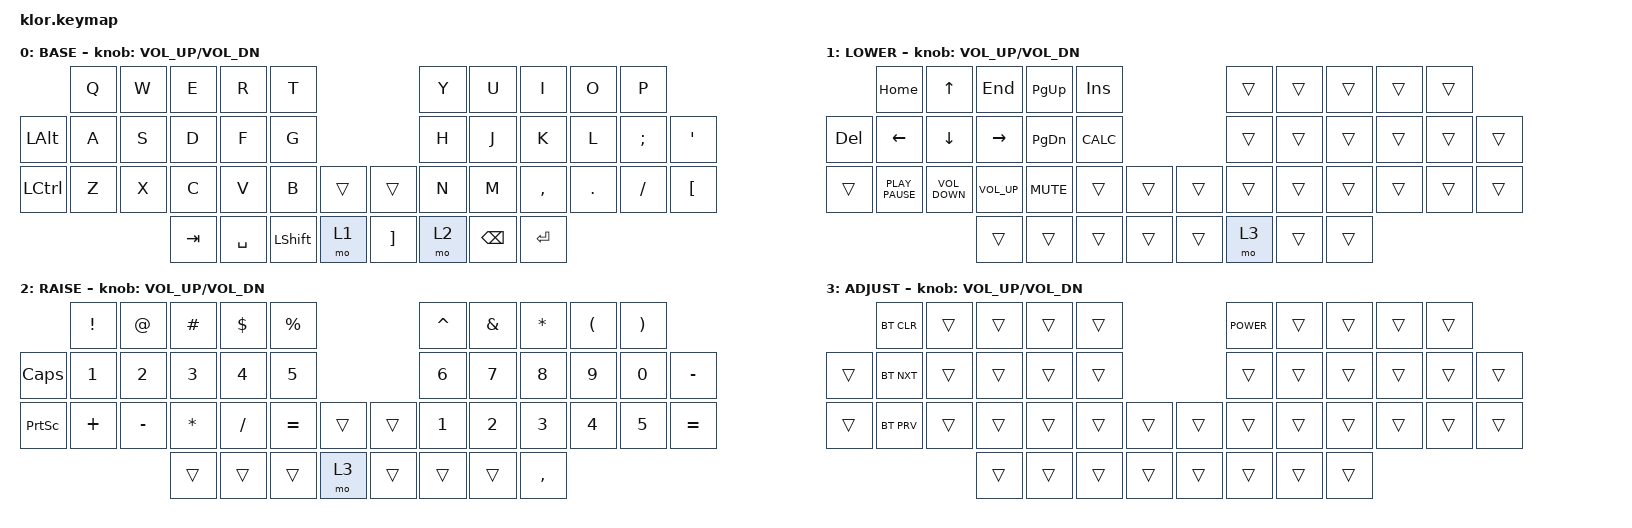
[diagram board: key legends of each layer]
//                               █         █    █            ▄▄▄▀▀▀▀▀▀▄▄▄        █▀▀▀▀▀▀▀▀▀▀█
//                               █        █     █          ▄▀            ▀▄      █          █
//                               █       █      █        ▄▀                ▀▄    █          █
//                               █      █       █        █                  █    █          █
//                               █     █        █       █                    █   █          █
//                               █    █         █       █                    █   █▄▄▄▄▄▄▄▄▄▄█
//                               █   █ █        █       █                    █   █      █
//                               █  █   █       █        █                  █    █       █
//                               █ █     █      █        ▀▄                ▄▀    █        █
//                               ██       █     █          ▀▄            ▄▀      █         █
//                               █         █    █▄▄▄▄▄▄▄▄    ▀▀▀▄▄▄▄▄▄▀▀▀        █          █
//
// ▄▄▄▄▄▄▄▄▄▄▄▄▄▄▄▄▄▄▄▄▄▄▄▄▄▄▄▄▄▄▄▄▄▄▄▄▄▄▄▄▄▄▄▄▄▄▄▄▄▄▄▄▄▄▄▄▄▄▄▄▄▄▄▄▄▄▄▄▄▄▄▄▄▄▄▄▄▄▄▄▄▄▄▄▄▄▄▄▄▄▄▄▄▄▄▄▄▄▄▄▄▄▄▄▄▄▄▄▄▄▄▄▄▄▄▄▄▄▄▄▄▄▄▄▄

#include <behaviors.dtsi>
#include <dt-bindings/zmk/bt.h>
#include <dt-bindings/zmk/keys.h>

#define BASE   0
#define LOWER  1
#define RAISE  2
#define ADJUST 3

/ {
    behaviors {
        hm: homerow_mods {
            compatible = "zmk,behavior-hold-tap";
            label = "HOMEROW_MODS";
            #binding-cells = <2>;
            tapping-term-ms = <150>;
            quick_tap_ms = <0>;
            flavor = "tap-preferred";
            bindings = <&kp>, <&kp>;
        };
    };

    combos {
        compatible = "zmk,combos";

        combo_esc {
            timeout-ms = <50>;
            key-positions = <24 25>;
            bindings = <&kp ESC>;
        };

        ctrl+alt+del {
            bindings = <&ctrl_alt_del>;
            key-positions = <2 3 4>;
        };
    };

    macros {
        ctrl_alt_del: new_macro {
            compatible = "zmk,behavior-macro";
            #binding-cells = <0>;
            bindings = <&kp LCTRL &kp LEFT_ALT &kp DEL>;
            label = "NEW_MACRO";
            tap-ms = <5>;
        };
    };

    keymap {
        compatible = "zmk,keymap";

        // ▄▄▄▄▄▄▄▄▄▄▄▄▄▄▄▄▄▄▄▄▄▄▄▄▄▄▄▄▄▄▄▄▄▄▄▄▄▄▄▄▄▄▄▄▄▄▄▄▄▄▄▄▄▄▄▄▄▄▄▄▄▄▄▄▄▄▄▄▄▄▄▄▄▄▄▄▄▄▄▄▄▄▄▄▄▄▄▄▄▄▄▄▄▄▄▄▄▄▄▄▄▄▄▄▄▄▄▄▄▄▄▄▄▄▄▄▄▄▄▄▄▄▄▄▄▄▄▄▄▄▄▄▄▄▄▄▄▄▄▄▄▄

        base_layer {
            // ┌───────────────────────────────────────────────────────────┐

            label = "BASE";

            // └───────────────────────────────────────────────────────────┘
            /*           ┌─────────┬─────────┬─────────┬─────────┬─────────┐                    ┌─────────┬─────────┬─────────┬─────────┬─────────┐
             │    Q    │    W    │    F    │    P    │    G    │                    │    J    │    L    │    U    │    Y    │    ;    │   
   ┌─────────┼─────────┼─────────┼─────────┼─────────┼─────────┤                    ├─────────┼─────────┼─────────┼─────────┼─────────┼─────────┐
   │   TAB   │    A    │    R    │    S    │    T    │    D    │                    │    H    │    N    │    E    │    I    │    O    │    "    │
   ├─────────┼─────────┼─────────┼─────────┼─────────┼─────────┤╭────────╮╭────────╮├─────────┼─────────┼─────────┼─────────┼─────────┼─────────┤
   │   DEL   │    Z    │    X    │    C    │    V    │    B    ││  MUTE  ││PLY/PSE ││    K    │    M    │    ,    │    .    │    /    │    \    │
   └─────────┴─────────┴─────────┼─────────┼─────────┼─────────┼╰────────╯╰────────╯┼─────────┼─────────┼─────────┼─────────┴─────────┴─────────┘
                                 │  CTRL   │  LOWER  │  SPACE  │   ALT   ││ CMD/WIN │  ENTER  │  RAISE  │  BSPCE  │  
                                 └─────────┴─────────┴─────────┴─────────┘└─────────┴─────────┴─────────┴─────────┘ */

            bindings = <
              &kp Q  &kp W  &kp E    &kp R      &kp T                             &kp Y  &kp U          &kp I      &kp O    &kp P
&kp LEFT_ALT  &kp A  &kp S  &kp D    &kp F      &kp G                             &kp H  &kp J          &kp K      &kp L    &kp SEMI   &kp SQT
&kp LCTRL     &kp Z  &kp X  &kp C    &kp V      &kp B           &trans  &trans    &kp N  &kp M          &kp COMMA  &kp DOT  &kp SLASH  &kp LBKT
                            &kp TAB  &kp SPACE  &kp LEFT_SHIFT  &mo 1   &kp RBKT  &mo 2  &kp BACKSPACE  &kp ENTER
            >;

            sensor-bindings = <&inc_dec_kp C_VOL_UP C_VOL_DN>;
        };

        // ▄▄▄▄▄▄▄▄▄▄▄▄▄▄▄▄▄▄▄▄▄▄▄▄▄▄▄▄▄▄▄▄▄▄▄▄▄▄▄▄▄▄▄▄▄▄▄▄▄▄▄▄▄▄▄▄▄▄▄▄▄▄▄▄▄▄▄▄▄▄▄▄▄▄▄▄▄▄▄▄▄▄▄▄▄▄▄▄▄▄▄▄▄▄▄▄▄▄▄▄▄▄▄▄▄▄▄▄▄▄▄▄▄▄▄▄▄▄▄▄▄▄▄▄▄▄▄▄▄▄▄▄▄▄▄▄▄▄▄▄▄▄

        lower_layer {
            // ┌───────────────────────────────────────────────────────────┐

            label = "LOWER";

            // └───────────────────────────────────────────────────────────┘
            /*           ┌─────────┬─────────┬─────────┬─────────┬─────────┐                    ┌─────────┬─────────┬─────────┬─────────┬─────────┐
             │         │         │    UP   │         │    {    │                    │    }    │    7    │    8    │    9    │    +    │
   ┌─────────┼─────────┼─────────┼─────────┼─────────┼─────────┤                    ├─────────┼─────────┼─────────┼─────────┼─────────┼─────────┐
   │         │         │   LEFT  │  DOWN   │  RIGHT  │    [    │                    │    ]    │    4    │    5    │    6    │    -    │         │
   ├─────────┼─────────┼─────────┼─────────┼─────────┼─────────┤╭────────╮╭────────╮├─────────┼─────────┼─────────┼─────────┼─────────┼─────────┤
   │         │         │   P UP  │ C LOCK  │ P DOWN  │    (    ││        ││        ││    )    │    1    │    2    │    3    │    *    │         │
   └─────────┴─────────┴─────────┼─────────┼─────────┼─────────┼╰────────╯╰────────╯┼─────────┼─────────┼─────────┼─────────┴─────────┴─────────┘
                                 │         │         │         │         ││         │         │    0    │         │  
                                 └─────────┴─────────┴─────────┴─────────┘└─────────┴─────────┴─────────┴─────────┘ */

            bindings = <
         &kp HOME          &kp UP             &kp END          &kp PAGE_UP    &kp INSERT                  &trans  &trans  &trans  &trans  &trans
&kp DEL  &kp LEFT          &kp DOWN           &kp RIGHT        &kp PAGE_DOWN  &kp K_CALC                  &trans  &trans  &trans  &trans  &trans  &trans
&trans   &kp K_PLAY_PAUSE  &kp C_VOLUME_DOWN  &kp C_VOLUME_UP  &kp K_MUTE     &trans      &trans  &trans  &trans  &trans  &trans  &trans  &trans  &trans
                                              &trans           &trans         &trans      &trans  &trans  &mo 3   &trans  &trans
            >;

            sensor-bindings = <&inc_dec_kp C_VOL_UP C_VOL_DN>;
        };

        // ▄▄▄▄▄▄▄▄▄▄▄▄▄▄▄▄▄▄▄▄▄▄▄▄▄▄▄▄▄▄▄▄▄▄▄▄▄▄▄▄▄▄▄▄▄▄▄▄▄▄▄▄▄▄▄▄▄▄▄▄▄▄▄▄▄▄▄▄▄▄▄▄▄▄▄▄▄▄▄▄▄▄▄▄▄▄▄▄▄▄▄▄▄▄▄▄▄▄▄▄▄▄▄▄▄▄▄▄▄▄▄▄▄▄▄▄▄▄▄▄▄▄▄▄▄

        raise_layer {
            // ┌───────────────────────────────────────────────────────────┐

            label = "RAISE";

            // └───────────────────────────────────────────────────────────┘
            /*           ┌─────────┬─────────┬─────────┬─────────┬─────────┐                    ┌─────────┬─────────┬─────────┬─────────┬─────────┐
             │         │         │         │         │         │                    │         │         │    Ü    │         │         │
   ┌─────────┼─────────┼─────────┼─────────┼─────────┼─────────┤                    ├─────────┼─────────┼─────────┼─────────┼─────────┼─────────┐
   │    Ä    │         │    ß    │         │         │         │                    │         │         │         │         │    Ö    │         │
   ├─────────┼─────────┼─────────┼─────────┼─────────┼─────────┤╭────────╮╭────────╮├─────────┼─────────┼─────────┼─────────┼─────────┼─────────┤
   │         │         │         │         │         │         ││        ││        ││         │         │         │         │         │         │
   └─────────┴─────────┴─────────┼─────────┼─────────┼─────────┼╰────────╯╰────────╯┼─────────┼─────────┼─────────┼─────────┴─────────┴─────────┘
                                 │ ADJUST  │         │         │         ││         │         │         │         │  
                                 └─────────┴─────────┴─────────┴─────────┘└─────────┴─────────┴─────────┴─────────┘ */

            bindings = <
                 &kp EXCL  &kp AT     &kp HASH  &kp DLLR   &kp PRCNT                  &kp CARET  &kp AMPS  &kp STAR   &kp LPAR  &kp RPAR
&kp CAPSLOCK     &kp N1    &kp N2     &kp N3    &kp N4     &kp N5                     &kp N6     &kp N7    &kp N8     &kp N9    &kp N0    &kp MINUS
&kp PRINTSCREEN  &kp PLUS  &kp MINUS  &kp STAR  &kp SLASH  &kp EQUAL  &trans  &trans  &kp N1     &kp N2    &kp N3     &kp N4    &kp N5    &kp EQUAL
                                      &trans    &trans     &trans     &mo 3   &trans  &trans     &trans    &kp COMMA
            >;

            sensor-bindings = <&inc_dec_kp C_VOL_UP C_VOL_DN>;
        };

        // ▄▄▄▄▄▄▄▄▄▄▄▄▄▄▄▄▄▄▄▄▄▄▄▄▄▄▄▄▄▄▄▄▄▄▄▄▄▄▄▄▄▄▄▄▄▄▄▄▄▄▄▄▄▄▄▄▄▄▄▄▄▄▄▄▄▄▄▄▄▄▄▄▄▄▄▄▄▄▄▄▄▄▄▄▄▄▄▄▄▄▄▄▄▄▄▄▄▄▄▄▄▄▄▄▄▄▄▄▄▄▄▄▄▄▄▄▄▄▄▄▄▄▄▄▄

        adjust_layer {
            // ┌───────────────────────────────────────────────────────────┐

            label = "ADJUST";

            // └───────────────────────────────────────────────────────────┘
            /*           ┌─────────┬─────────┬─────────┬─────────┬─────────┐                    ┌─────────┬─────────┬─────────┬─────────┬─────────┐
             │         │         │         │         │         │                    │         │         │         │         │         │
   ┌─────────┼─────────┼─────────┼─────────┼─────────┼─────────┤                    ├─────────┼─────────┼─────────┼─────────┼─────────┼─────────┐
   │         │         │         │         │         │         │                    │         │         │         │         │         │         │
   ├─────────┼─────────┼─────────┼─────────┼─────────┼─────────┤╭────────╮╭────────╮├─────────┼─────────┼─────────┼─────────┼─────────┼─────────┤
   │         │         │         │         │         │         ││        ││        ││         │         │         │         │         │         │
   └─────────┴─────────┴─────────┼─────────┼─────────┼─────────┼╰────────╯╰────────╯┼─────────┼─────────┼─────────┼─────────┴─────────┴─────────┘
                                 │         │         │         │         ││         │         │         │         │  
                                 └─────────┴─────────┴─────────┴─────────┘└─────────┴─────────┴─────────┴─────────┘ */

            bindings = <
        &bt BT_CLR  &trans  &trans  &trans  &trans                  &kp K_POWER  &trans  &trans  &trans  &trans
&trans  &bt BT_NXT  &trans  &trans  &trans  &trans                  &trans       &trans  &trans  &trans  &trans  &trans
&trans  &bt BT_PRV  &trans  &trans  &trans  &trans  &trans  &trans  &trans       &trans  &trans  &trans  &trans  &trans
                            &trans  &trans  &trans  &trans  &trans  &trans       &trans  &trans
            >;

            sensor-bindings = <&inc_dec_kp C_VOL_UP C_VOL_DN>;
        };
    };
};
